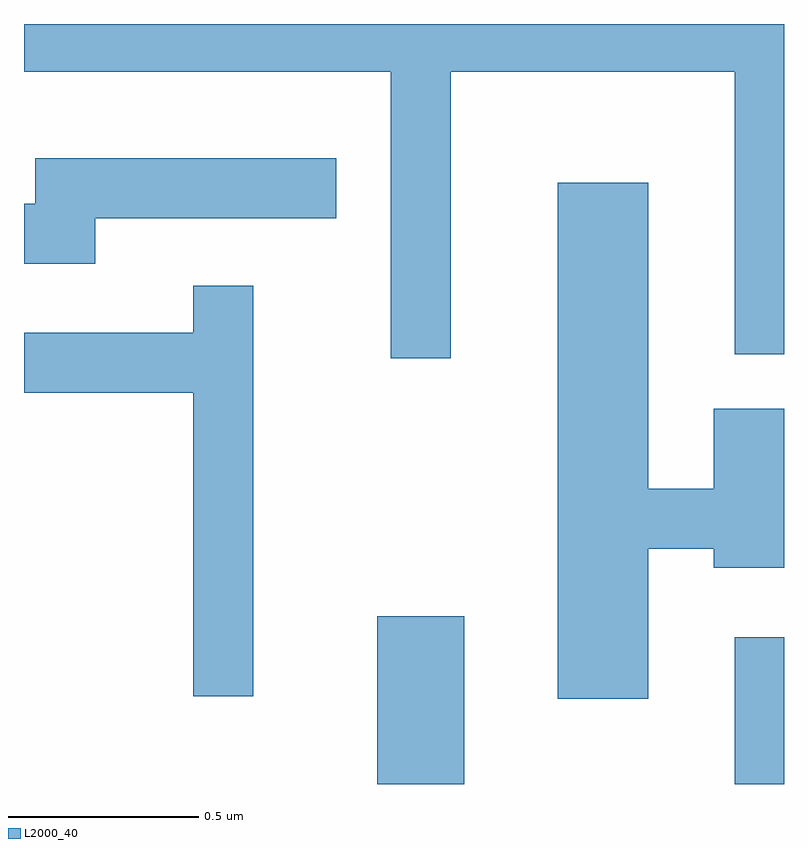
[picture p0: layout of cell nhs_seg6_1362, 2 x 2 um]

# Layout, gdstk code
import gdstk
lib = gdstk.Library(unit=1e-6, precision=1e-09)
def R(c, l, rs):  # rectangles x0, y0, x1, y1
    for r in rs: c.add(gdstk.rectangle(r[:2], r[2:], *l))
def P(c, l, *ps):  # polygons
    for p in ps: c.add(gdstk.Polygon(p, *l))
L2000_40 = (2000, 40)

nhs_seg6_1362 = lib.new_cell('nhs_seg6_1362')
R(nhs_seg6_1362, L2000_40, [(195.541,1659.162,195.769,1659.604), (196.481,1659.162,196.611,1659.548)])
P(nhs_seg6_1362, L2000_40, [(195.734,1661.036),(196.481,1661.036),(196.481,1660.293),(196.611,1660.293),(196.611,1661.162),(194.611,1661.162),(194.611,1661.036),(195.576,1661.036),(195.576,1660.283),(195.734,1660.283)],
  [(194.799,1660.651),(195.433,1660.651),(195.433,1660.809),(194.641,1660.809),(194.641,1660.689),(194.611,1660.689),(194.611,1660.531),(194.799,1660.531)],
  [(196.254,1659.781),(196.426,1659.781),(196.426,1659.731),(196.611,1659.731),(196.611,1660.149),(196.426,1660.149),(196.426,1659.939),(196.254,1659.939),(196.254,1660.744),(196.016,1660.744),(196.016,1659.386),(196.254,1659.386)],
  [(195.214,1660.473),(195.056,1660.473),(195.056,1660.349),(194.611,1660.349),(194.611,1660.191),(195.056,1660.191),(195.056,1659.393),(195.214,1659.393)])

lib.write_gds('nhs_seg6_1362.gds')
